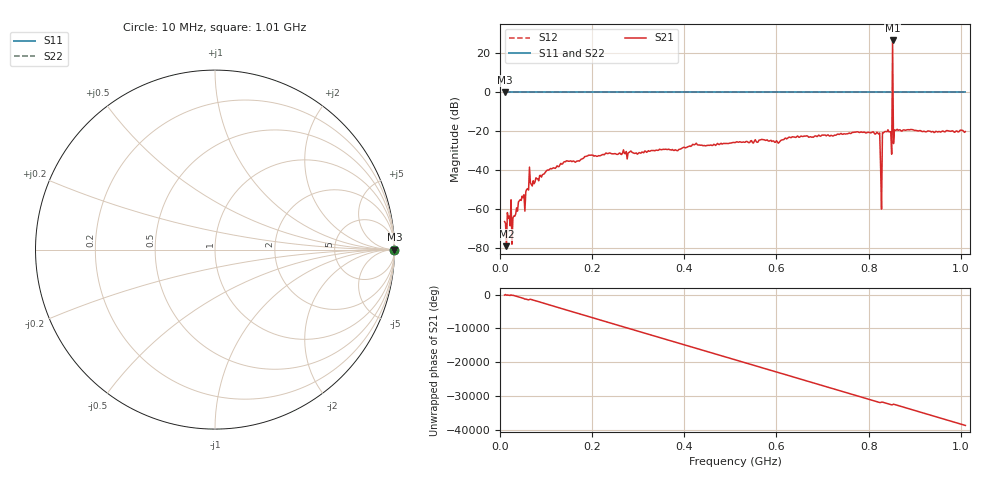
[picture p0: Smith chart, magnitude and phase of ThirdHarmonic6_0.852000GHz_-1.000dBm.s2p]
! 8/16/2025 4:12:24 AM
! C:\ANRITSUVNA\TEMP\TEMP.S2P
! CHANNEL.1
! TR.MEASUREMENT
! RAW.DATA
! RF.CORRECTION.OFF
! AVERAGING.OFF
! IF.BANDWIDTH: 5KHZ
! SWEEPTYPE:  FREQ.SWEEP(Linear)
! Reference Plane Port Info
! PORT:  PORT1  PORT2
! DISTANCE:  0  m  0  m
! TIME:  0  s  0  s
! PHASE.OFFSET:  0  deg.  0  deg.
! LOSS:  0  dB  0  dB
! REF.LOSS:  0  dB  0  dB
! REF.FREQ:  0  Hz  0  Hz
! Power Info
! POWER:  -20  dBm  -20  dBm
! EFF.POWER:  -20  dBm  -20  dBm
! SOURCE.ATTEN:  0  dB  0  dB
! TEST.ATTEN:  0  dB  0  dB
# GHZ S RI R 50.0
! FREQ.GHZ  S11RE  S11IM  S21RE  S21IM  S12RE  S12IM  S22RE  S22IM
!; PortSelection: Port_12
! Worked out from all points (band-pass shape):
!   501 points, 10 MHz to 1.01 GHz, reference 50 ohm
!   highest |S21| = 26.68 dB at 852 MHz (marker M1); lowest = -79.3 dB at 14 MHz (marker M2)
!   |S21| within 3 dB of the highest: 851.8976 MHz to 852.113 MHz (215.4 kHz wide, 0.0253 % of centre)
!   lowest |S11| = 0.0 dB at 10 MHz (marker M3)
!   |S11| at or under -10 dB: nowhere
!   |S22| runs from 0.0 to 0.0 dB; largest |S21 - S12| = 23
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0.01  1 0  -0.000421 -0.000204  1 0  1 0
0.014  1 0  -0.000109 -6.2e-06  1 0  1 0
0.018  1 0  -0.000567 -5.62e-05  1 0  1 0
0.02  1 0  -0.000523 0.000385  1 0  1 0
0.03  1 0  0.000175 0.000625  1 0  1 0
0.044  1 0  -0.00111 -0.00131  1 0  1 0
0.068  1 0  0.00335 -0.00256  1 0  1 0
0.178  1 0  -0.0191 -0.00219  1 0  1 0
0.344  1 0  0.0294 -0.0128  1 0  1 0
0.51  1 0  -0.0385 0.0326  1 0  1 0
0.678  1 0  -0.059 -0.0379  1 0  1 0
0.82  1 0  -0.0467 -0.0754  1 0  1 0
0.824  1 0  0.00766 0.0891  1 0  1 0
0.83  1 0  -0.0847 -0.0322  1 0  1 0
0.834  1 0  0.0711 0.0623  1 0  1 0
0.844  1 0  0.0956 -0.0038  1 0  1 0
0.846  1 0  0.00944 -0.0953  1 0  1 0
0.848  1 0  -0.0936 -0.0233  1 0  1 0
0.852  1 0  -21.13 4.317  1 0  1 0
0.856  1 0  -0.0677 -0.0831  1 0  1 0
0.858  1 0  -0.0902 0.0538  1 0  1 0
1.01  1 0  -0.0659 0.0712  1 0  1 0
